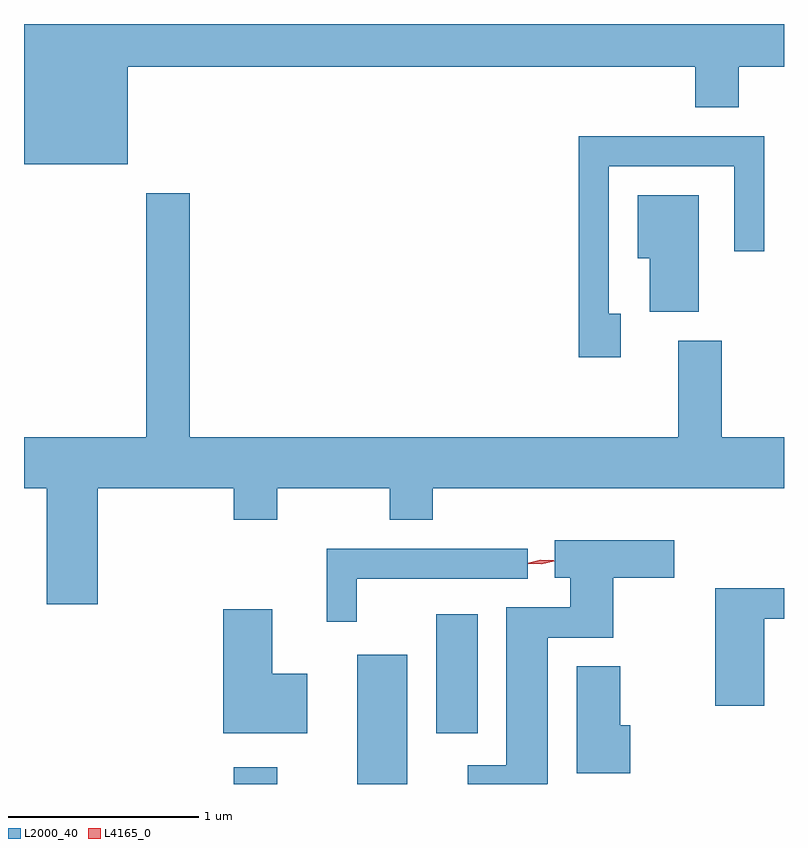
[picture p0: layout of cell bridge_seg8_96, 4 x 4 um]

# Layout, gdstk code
import gdstk
lib = gdstk.Library(unit=1e-6, precision=1e-09)
def R(c, l, rs):  # rectangles x0, y0, x1, y1
    for r in rs: c.add(gdstk.rectangle(r[:2], r[2:], *l))
def P(c, l, *ps):  # polygons
    for p in ps: c.add(gdstk.Polygon(p, *l))
L2000_40 = (2000, 40)
L4165_0 = (4165, 0)

bridge_seg8_96 = lib.new_cell('bridge_seg8_96')
R(bridge_seg8_96, L2000_40, [(1574.701,1823.76,1574.929,1823.849), (1575.351,1823.76,1575.614,1824.439), (1575.766,1824.026,1575.984,1824.654)])
P(bridge_seg8_96, L2000_40, [(1574.144,1827.536),(1577.131,1827.536),(1577.131,1827.321),(1577.359,1827.321),(1577.359,1827.536),(1577.597,1827.536),(1577.597,1827.76),(1573.597,1827.76),(1573.597,1827.021),(1574.144,1827.021)],
  [(1576.739,1826.234),(1576.674,1826.234),(1576.674,1827.011),(1577.336,1827.011),(1577.336,1826.563),(1577.494,1826.563),(1577.494,1827.169),(1576.516,1827.169),(1576.516,1826.006),(1576.739,1826.006)],
  [(1573.984,1825.316),(1574.701,1825.316),(1574.701,1825.151),(1574.929,1825.151),(1574.929,1825.316),(1575.521,1825.316),(1575.521,1825.151),(1575.749,1825.151),(1575.749,1825.316),(1577.597,1825.316),(1577.597,1825.584),(1577.269,1825.584),(1577.269,1826.094),(1577.041,1826.094),(1577.041,1825.584),(1574.469,1825.584),(1574.469,1826.869),(1574.241,1826.869),(1574.241,1825.584),(1573.597,1825.584),(1573.597,1825.316),(1573.716,1825.316),(1573.716,1824.706),(1573.984,1824.706)],
  [(1577.149,1826.859),(1576.826,1826.859),(1576.826,1826.526),(1576.891,1826.526),(1576.891,1826.246),(1577.149,1826.246)],
  [(1576.354,1823.762),(1576.354,1824.531),(1576.699,1824.531),(1576.699,1824.846),(1577.019,1824.846),(1577.019,1825.044),(1576.391,1825.044),(1576.391,1824.846),(1576.471,1824.846),(1576.471,1824.689),(1576.136,1824.689),(1576.136,1823.859),(1575.933,1823.859),(1575.933,1823.76),(1576.352,1823.76)],
  [(1575.349,1824.841),(1576.248,1824.841),(1576.248,1824.999),(1575.191,1824.999),(1575.191,1824.613),(1575.349,1824.613)],
  [(1577.494,1824.631),(1577.597,1824.631),(1577.597,1824.789),(1577.236,1824.789),(1577.236,1824.171),(1577.494,1824.171)],
  [(1575.089,1824.339),(1574.904,1824.339),(1574.904,1824.679),(1574.646,1824.679),(1574.646,1824.026),(1575.089,1824.026)],
  [(1576.789,1824.069),(1576.734,1824.069),(1576.734,1824.379),(1576.506,1824.379),(1576.506,1823.816),(1576.789,1823.816)])
P(bridge_seg8_96, L4165_0, [(1576.32,1824.921),(1576.253,1824.924),(1576.253,1824.924),(1576.253,1824.925),(1576.318,1824.94),(1576.384,1824.937),(1576.384,1824.937),(1576.384,1824.936)],
  [(1576.319,1824.916),(1576.25,1824.92),(1576.25,1824.92),(1576.25,1824.921),(1576.318,1824.936),(1576.387,1824.932),(1576.387,1824.932),(1576.387,1824.932)])

lib.write_gds('bridge_seg8_96.gds')
